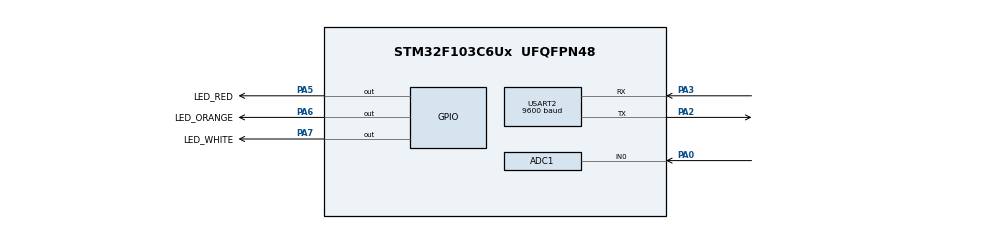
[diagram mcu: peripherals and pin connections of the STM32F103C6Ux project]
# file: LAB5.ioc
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ADC1.Channel-0\#ChannelRegularConversion=ADC_CHANNEL_0
ADC1.ContinuousConvMode=ENABLE
ADC1.NbrOfConversionFlag=1
ADC1.Rank-0\#ChannelRegularConversion=1
ADC1.SamplingTime-0\#ChannelRegularConversion=ADC_SAMPLETIME_1CYCLE_5
ADC1.master=1
Mcu.Family=STM32F1
Mcu.Name=STM32F103C6Ux
Mcu.Package=UFQFPN48
NVIC.PriorityGroup=NVIC_PRIORITYGROUP_4
NVIC.USART2_IRQn=true\:0\:0\:false\:false\:true\:true\:true\:true
PA0-WKUP.Signal=ADCx_IN0
PA2.Mode=Asynchronous
PA2.Signal=USART2_TX
PA3.Mode=Asynchronous
PA3.Signal=USART2_RX
PA5.GPIO_Label=LED_RED
PA5.Signal=GPIO_Output
PA6.GPIO_Label=LED_ORANGE
PA6.Signal=GPIO_Output
PA7.GPIO_Label=LED_WHITE
PA7.Signal=GPIO_Output
ProjectManager.HeapSize=0x200
ProjectManager.StackSize=0x400
ProjectManager.TargetToolchain=STM32CubeIDE
RCC.APB1Freq_Value=8000000
RCC.APB2Freq_Value=8000000
SH.ADCx_IN0.0=ADC1_IN0,IN0
USART2.BaudRate=9600
USART2.VirtualMode=VM_ASYNC
VP_SYS_VS_ND.Mode=No_Debug
board=custom

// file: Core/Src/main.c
/* USER CODE BEGIN Header */
/**
  ******************************************************************************
  * @file           : main.c
  * @brief          : Main program body
  ******************************************************************************
  * @attention
  *
  * Copyright (c) 2024 STMicroelectronics.
  * All rights reserved.
  *
  * This software is licensed under terms that can be found in the LICENSE file
  * in the root directory of this software component.
  * If no LICENSE file comes with this software, it is provided AS-IS.
  *
  ******************************************************************************
  */
/* USER CODE END Header */
#include "main.h"
#include "stdio.h"
#include "string.h"

ADC_HandleTypeDef hadc1;

UART_HandleTypeDef huart2;

void SystemClock_Config(void);
static void MX_GPIO_Init(void);
static void MX_ADC1_Init(void);
static void MX_USART2_UART_Init(void);

/* USER CODE BEGIN 0 */
# define MAX_BUFFER_SIZE 30
uint8_t temp = 0;
uint8_t buffer [ MAX_BUFFER_SIZE ];
uint8_t index_buffer = 0;
uint8_t buffer_flag = 0;

void HAL_UART_RxCpltCallback ( UART_HandleTypeDef * huart ) {
	if( huart -> Instance == USART2 ) {
		buffer[index_buffer++] = temp ;
		if( index_buffer == 30) index_buffer = 0;
		buffer_flag = 1;
		HAL_UART_Receive_IT (&huart2 , &temp , 1) ;
		HAL_UART_Transmit (& huart2 , &temp , 1, 100);
	}
}

int STATE = 0;
uint8_t command_flag = 0;
uint32_t ADC_value =0;
int last_response_time = 0 ;
uint8_t resend_flag = 1;
void command_parser_fsm(){
	if (strncmp((char*)buffer, "!RST#", 5) == 0) {
		command_flag =  1;

		HAL_ADC_Start(&hadc1);
		HAL_ADC_PollForConversion(&hadc1, HAL_MAX_DELAY);
		ADC_value = HAL_ADC_GetValue(&hadc1);
		HAL_ADC_Stop(&hadc1);

		memset(buffer, 0, MAX_BUFFER_SIZE);
		index_buffer = 0;
		buffer_flag = 0;
	}

	else if (strncmp((char*)buffer, "!OK#", 4) == 0) {
		const char* response = "end\n";
		HAL_UART_Transmit(&huart2, (uint8_t*)response, strlen(response), 1000);
		command_flag = 0;
		memset(buffer, 0, MAX_BUFFER_SIZE);
		index_buffer = 0;
		buffer_flag = 0;
	}
}
void uart_communiation_fsm(){
	if (command_flag == 1) {
		if ( resend_flag == 1) {
			char str[50];
			uint32_t ADC_value_display = (uint32_t)ADC_value;
			int len = sprintf(str, "!ADC=%lu#\r\n", ADC_value_display);
			HAL_UART_Transmit(&huart2, (uint8_t*)str, len, 1000);

			resend_flag = 0;
		}
	}
}
/* USER CODE END 0 */

int main(void)
{

  /* MCU Configuration--------------------------------------------------------*/

  /* Reset of all peripherals, Initializes the Flash interface and the Systick. */
  HAL_Init();

  /* Configure the system clock */
  SystemClock_Config();

  /* Initialize all configured peripherals */
  MX_GPIO_Init();
  MX_ADC1_Init();
  MX_USART2_UART_Init();
  /* USER CODE BEGIN 2 */
  HAL_UART_Receive_IT (&huart2 , &temp , 1) ;
  /* USER CODE END 2 */

  /* Infinite loop */
  while (1)
  {
	  if(buffer_flag == 1){
		  command_parser_fsm();
		  buffer_flag = 0;
	  }
	  uart_communiation_fsm();

	  if ( HAL_GetTick() - last_response_time >= 3000) {
		resend_flag = 1;  // Trigger resend
		last_response_time = HAL_GetTick();

		memset(buffer, 0, MAX_BUFFER_SIZE);
		index_buffer = 0;
		buffer_flag = 0;
		HAL_GPIO_TogglePin(LED_ORANGE_GPIO_Port, LED_ORANGE_Pin);
	  }
  }
}

void SystemClock_Config(void)
{
  RCC_OscInitTypeDef RCC_OscInitStruct = {0};
  RCC_ClkInitTypeDef RCC_ClkInitStruct = {0};
  RCC_PeriphCLKInitTypeDef PeriphClkInit = {0};

  /** Initializes the RCC Oscillators according to the specified parameters
  * in the RCC_OscInitTypeDef structure.
  */
  RCC_OscInitStruct.OscillatorType = RCC_OSCILLATORTYPE_HSI;
  RCC_OscInitStruct.HSIState = RCC_HSI_ON;
  RCC_OscInitStruct.HSICalibrationValue = RCC_HSICALIBRATION_DEFAULT;
  RCC_OscInitStruct.PLL.PLLState = RCC_PLL_NONE;
  if (HAL_RCC_OscConfig(&RCC_OscInitStruct) != HAL_OK)
  {
    Error_Handler();
  }

  /** Initializes the CPU, AHB and APB buses clocks
  */
  RCC_ClkInitStruct.ClockType = RCC_CLOCKTYPE_HCLK|RCC_CLOCKTYPE_SYSCLK
                              |RCC_CLOCKTYPE_PCLK1|RCC_CLOCKTYPE_PCLK2;
  RCC_ClkInitStruct.SYSCLKSource = RCC_SYSCLKSOURCE_HSI;
  RCC_ClkInitStruct.AHBCLKDivider = RCC_SYSCLK_DIV1;
  RCC_ClkInitStruct.APB1CLKDivider = RCC_HCLK_DIV1;
  RCC_ClkInitStruct.APB2CLKDivider = RCC_HCLK_DIV1;

  if (HAL_RCC_ClockConfig(&RCC_ClkInitStruct, FLASH_LATENCY_0) != HAL_OK)
  {
    Error_Handler();
  }
  PeriphClkInit.PeriphClockSelection = RCC_PERIPHCLK_ADC;
  PeriphClkInit.AdcClockSelection = RCC_ADCPCLK2_DIV2;
  if (HAL_RCCEx_PeriphCLKConfig(&PeriphClkInit) != HAL_OK)
  {
    Error_Handler();
  }
}

static void MX_ADC1_Init(void)
{

  ADC_ChannelConfTypeDef sConfig = {0};

  /** Common config
  */
  hadc1.Instance = ADC1;
  hadc1.Init.ScanConvMode = ADC_SCAN_DISABLE;
  hadc1.Init.ContinuousConvMode = ENABLE;
  hadc1.Init.DiscontinuousConvMode = DISABLE;
  hadc1.Init.ExternalTrigConv = ADC_SOFTWARE_START;
  hadc1.Init.DataAlign = ADC_DATAALIGN_RIGHT;
  hadc1.Init.NbrOfConversion = 1;
  if (HAL_ADC_Init(&hadc1) != HAL_OK)
  {
    Error_Handler();
  }

  /** Configure Regular Channel
  */
  sConfig.Channel = ADC_CHANNEL_0;
  sConfig.Rank = ADC_REGULAR_RANK_1;
  sConfig.SamplingTime = ADC_SAMPLETIME_1CYCLE_5;
  if (HAL_ADC_ConfigChannel(&hadc1, &sConfig) != HAL_OK)
  {
    Error_Handler();
  }

}

static void MX_USART2_UART_Init(void)
{

  huart2.Instance = USART2;
  huart2.Init.BaudRate = 9600;
  huart2.Init.WordLength = UART_WORDLENGTH_8B;
  huart2.Init.StopBits = UART_STOPBITS_1;
  huart2.Init.Parity = UART_PARITY_NONE;
  huart2.Init.Mode = UART_MODE_TX_RX;
  huart2.Init.HwFlowCtl = UART_HWCONTROL_NONE;
  huart2.Init.OverSampling = UART_OVERSAMPLING_16;
  if (HAL_UART_Init(&huart2) != HAL_OK)
  {
    Error_Handler();
  }

}

static void MX_GPIO_Init(void)
{
  GPIO_InitTypeDef GPIO_InitStruct = {0};

  /* GPIO Ports Clock Enable */
  __HAL_RCC_GPIOA_CLK_ENABLE();

  /*Configure GPIO pin Output Level */
  HAL_GPIO_WritePin(GPIOA, LED_RED_Pin|LED_ORANGE_Pin|LED_WHITE_Pin, GPIO_PIN_RESET);

  /*Configure GPIO pins : LED_RED_Pin LED_ORANGE_Pin LED_WHITE_Pin */
  GPIO_InitStruct.Pin = LED_RED_Pin|LED_ORANGE_Pin|LED_WHITE_Pin;
  GPIO_InitStruct.Mode = GPIO_MODE_OUTPUT_PP;
  GPIO_InitStruct.Pull = GPIO_NOPULL;
  GPIO_InitStruct.Speed = GPIO_SPEED_FREQ_LOW;
  HAL_GPIO_Init(GPIOA, &GPIO_InitStruct);

}

void Error_Handler(void)
{
  __disable_irq();
  while (1)
  {
  }
}
